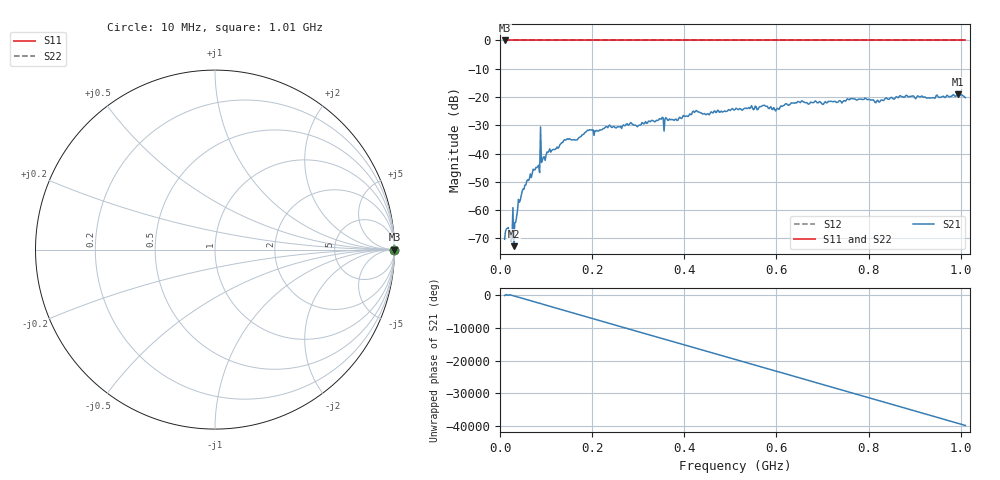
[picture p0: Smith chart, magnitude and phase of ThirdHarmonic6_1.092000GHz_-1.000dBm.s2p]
! 8/16/2025 10:10:19 AM
! C:\ANRITSUVNA\TEMP\TEMP.S2P
! CHANNEL.1
! TR.MEASUREMENT
! RAW.DATA
! RF.CORRECTION.OFF
! AVERAGING.OFF
! IF.BANDWIDTH: 5KHZ
! SWEEPTYPE:  FREQ.SWEEP(Linear)
! Reference Plane Port Info
! PORT:  PORT1  PORT2
! DISTANCE:  0  m  0  m
! TIME:  0  s  0  s
! PHASE.OFFSET:  0  deg.  0  deg.
! LOSS:  0  dB  0  dB
! REF.LOSS:  0  dB  0  dB
! REF.FREQ:  0  Hz  0  Hz
! Power Info
! POWER:  -20  dBm  -20  dBm
! EFF.POWER:  -20  dBm  -20  dBm
! SOURCE.ATTEN:  0  dB  0  dB
! TEST.ATTEN:  0  dB  0  dB
# GHZ S RI R 50.0
! FREQ.GHZ  S11RE  S11IM  S21RE  S21IM  S12RE  S12IM  S22RE  S22IM
!; PortSelection: Port_12
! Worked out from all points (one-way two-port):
!   501 points, 10 MHz to 1.01 GHz, reference 50 ohm
!   highest |S21| = -19.06 dB at 994 MHz (marker M1); lowest = -72.8 dB at 30 MHz (marker M2)
!   lowest |S11| = 0.0 dB at 10 MHz (marker M3)
!   |S11| at or under -10 dB: nowhere
!   |S22| runs from 0.0 to 0.0 dB; largest |S21 - S12| = 1.1
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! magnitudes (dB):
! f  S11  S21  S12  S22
! 10 MHz  0.0  -70.3  0.0  0.0
! 16 MHz  0.0  -66.4  0.0  0.0
! 26 MHz  0.0  -70.3  0.0  0.0
! 30 MHz  0.0  -72.8  0.0  0.0
! 34 MHz  0.0  -64.3  0.0  0.0
! 42 MHz  0.0  -57.2  0.0  0.0
! 50 MHz  0.0  -52.6  0.0  0.0
! 82 MHz  0.0  -44.5  0.0  0.0
! 84 MHz  0.0  -44.1  0.0  0.0
! 92 MHz  0.0  -42.3  0.0  0.0
! 94 MHz  0.0  -41.3  0.0  0.0
! 142 MHz  0.0  -35.2  0.0  0.0
! 178 MHz  0.0  -33.4  0.0  0.0
! 194 MHz  0.0  -31.5  0.0  0.0
! 344 MHz  0.0  -28.1  0.0  0.0
! 510 MHz  0.0  -24.4  0.0  0.0
! 572 MHz  0.0  -23.0  0.0  0.0
! 602 MHz  0.0  -24.0  0.0  0.0
! 678 MHz  0.0  -22.0  0.0  0.0
! 844 MHz  0.0  -20.8  0.0  0.0
! 994 MHz  0.0  -19.1  0.0  0.0
! 1.01 GHz  0.0  -20.2  0.0  0.0
